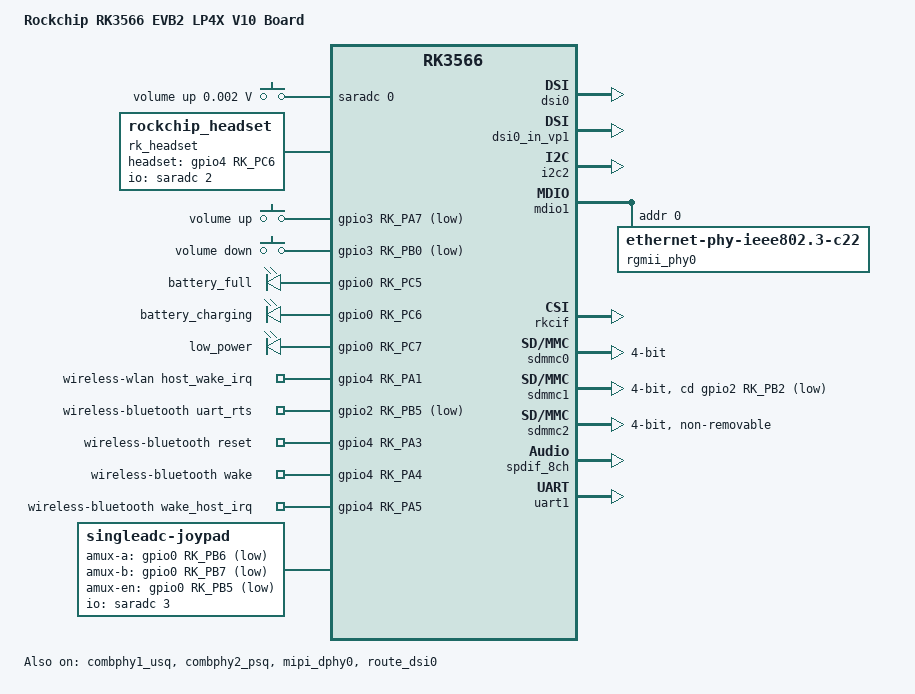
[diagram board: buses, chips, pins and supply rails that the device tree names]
// SPDX-License-Identifier: (GPL-2.0+ OR MIT)
/*
 * Copyright (c) 2020 Rockchip Electronics Co., Ltd.
 *
 */

/dts-v1/;

#include <dt-bindings/gpio/gpio.h>
#include <dt-bindings/display/media-bus-format.h>
#include <dt-bindings/pinctrl/rockchip.h>
#include "rk3566.dtsi"
#include "rk3568-evb2.dtsi"

/ {
	model = "Rockchip RK3566 EVB2 LP4X V10 Board";
	compatible = "rockchip,rk3566-evb2-lp4x-v11", "rockchip,rk3566";

	adc_keys: adc-keys {
		compatible = "adc-keys";
		io-channels = <&saradc 0>;
		io-channel-names = "buttons";
		keyup-threshold-microvolt = <1800000>;
		poll-interval = <100>;

		vol-up-key {
			label = "volume up";
			linux,code = <KEY_F>;
			press-threshold-microvolt = <1750>;
		};		
	};

	rk_headset: rk-headset {
		compatible = "rockchip_headset";
		headset_gpio = <&gpio4 RK_PC6 GPIO_ACTIVE_HIGH>;
		pinctrl-names = "default";
		pinctrl-0 = <&hp_det>;
		io-channels = <&saradc 2>;
	};

/*	vibrator {
		compatible = "rk-vibrator-gpio";
		vibrator-gpio = <&gpio0 RK_PC4 GPIO_ACTIVE_LOW>;
		status = "okay";
	};*/

	keys: gpio-keys {
		compatible = "gpio-keys";
		pinctrl-names = "default";
		pinctrl-0 = <&pwr_key>;
		autorepeat;
		vol-up-key {
			gpios = <&gpio3 RK_PA7 GPIO_ACTIVE_LOW>;
			linux,code = <115>;
			label = "volume up";
		};

		vol-down-key {
			gpios = <&gpio3 RK_PB0 GPIO_ACTIVE_LOW>;
			linux,code = <114>;
			label = "volume down";
		};

/*		power-key {
			wakeup-source;
			gpios = <&gpio0 5 GPIO_ACTIVE_LOW>;
			linux,code = <116>;
			label = "power";
		};
*/							
			
	};	
        leds: gpio-leds {
                compatible = "gpio-leds";
                pinctrl-names = "default";
                pinctrl-0 =<&leds_gpio>;

                led@1 {
                        gpios = <&gpio0 RK_PC5 GPIO_ACTIVE_HIGH>;
                        label = "battery_full";
			default-state="on";
                        retain-state-suspended;
                };

                led@2 {
                        gpios = <&gpio0 RK_PC6 GPIO_ACTIVE_HIGH>;
                        label = "battery_charging";
                        retain-state-suspended;
                };
				
                led@3 {
                        gpios = <&gpio0 RK_PC7 GPIO_ACTIVE_HIGH>;
                        label = "low_power";
			default-state="off";
                        retain-state-suspended;
                };			
	};

	wireless-wlan {
		compatible = "wlan-platdata";
		rockchip,grf = <&grf>;
		wifi_chip_type = "ap6330";
		pinctrl-names = "default";
		pinctrl-0 = <&wifi_host_wake_irq>;
		WIFI,host_wake_irq = <&gpio4 RK_PA1 GPIO_ACTIVE_HIGH>;
		//WIFI,poweren_gpio = <&gpio0 RK_PA0 GPIO_ACTIVE_HIGH>; /* GPIO0_a3 */
		keep_wifi_power_on;		
		status = "okay";
	};

	wireless-bluetooth {
		compatible = "bluetooth-platdata";
		clocks = <&rk817 1>;
		clock-names = "ext_clock";
		//wifi-bt-power-toggle;
		uart_rts_gpios = <&gpio2 RK_PB5 GPIO_ACTIVE_LOW>;
		pinctrl-names = "default", "rts_gpio";
		pinctrl-0 = <&uart1m1_rtsn>;
		pinctrl-1 = <&uart1_gpios>;
		BT,reset_gpio    = <&gpio4 RK_PA3 GPIO_ACTIVE_HIGH>;
		BT,wake_gpio     = <&gpio4 RK_PA4 GPIO_ACTIVE_HIGH>;
		BT,wake_host_irq = <&gpio4 RK_PA5 GPIO_ACTIVE_HIGH>;
		status = "okay";
	};
	
	joypad: singleadc-joypad {
		compatible = "singleadc-joypad";

		joypad-name = "retrogame_joypad";
		joypad-product = <0x1101>;
		joypad-revision = <0x0100>;

		status = "okay";

		/* gpio pincontrol setup */
		pinctrl-names = "default";
		pinctrl-0 = <&btn_pins>;

		/* Analog mux define */
		io-channel-names = "amux_adc";
		io-channels = <&saradc 3>;

		/* adc mux channel count */
		amux-count = <4>;
		/* adc mux select(a,b) gpio */
		amux-a-gpios = <&gpio0 RK_PB6 GPIO_ACTIVE_LOW>;
		amux-b-gpios = <&gpio0 RK_PB7 GPIO_ACTIVE_LOW>;
		/* adc mux enable gpio */
		amux-en-gpios = <&gpio0 RK_PB5 GPIO_ACTIVE_LOW>;

		/* adc calculate scale */
		button-adc-scale = <2>;

		/* adc deadzone range  */
		button-adc-deadzone = <64>;

		/*
		  specifies fuzz value that is used to filter noise from
		  the event stream.
		*/
		button-adc-fuzz = <32>;
		button-adc-flat = <32>;

		/*
		  Analog Stick data tuning value(precent)
		  p = positive direction, n = negative direction
		  report value = (real_adc_data * tuning_value) / 100
		*/
		abs_x-p-tuning = <400>;
		abs_x-n-tuning = <400>;

		abs_y-p-tuning = <400>;
		abs_y-n-tuning = <400>;

		abs_rx-p-tuning = <400>;
		abs_rx-n-tuning = <400>;

		abs_ry-p-tuning = <400>;
		abs_ry-n-tuning = <400>;

		/* poll device interval (ms), adc read interval */
		poll-interval = <10>;

		/* gpio button auto repeat set value : default disable */
		/*
			autorepeat;
		*/
		sw1 {
		        gpios = <&gpio3 RK_PA3 GPIO_ACTIVE_LOW>;
		        label = "GPIO DPAD-UP";
		        linux,code = <BTN_DPAD_UP>;
		};
		sw2 {
		        gpios = <&gpio3 RK_PA4 GPIO_ACTIVE_LOW>;
		        label = "GPIO DPAD-DOWN";
		        linux,code = <BTN_DPAD_DOWN>;
		};
		sw3 {
		        gpios = <&gpio3 RK_PA5 GPIO_ACTIVE_LOW>;
		        label = "GPIO DPAD-LEFT";
		        linux,code = <BTN_DPAD_LEFT>;
		};
		sw4 {
		        gpios = <&gpio3 RK_PA6 GPIO_ACTIVE_LOW>;
		        label = "GPIO DPAD-RIGHT";
		        linux,code = <BTN_DPAD_RIGHT>;
		};
		sw5 {
		        gpios = <&gpio3 RK_PC3 GPIO_ACTIVE_LOW>;
		        label = "GPIO KEY BTN-A";
		        linux,code = <BTN_SOUTH>;
		};
		sw6 {
		        gpios = <&gpio3 RK_PC2 GPIO_ACTIVE_LOW>;
		        label = "GPIO BTN-B";
		        linux,code = <BTN_EAST>;
		};
		sw7 {
		        gpios = <&gpio3 RK_PC0 GPIO_ACTIVE_LOW>;
		        label = "GPIO BTN-X";
		        linux,code = <BTN_NORTH>;
		};
		sw8 {
		        gpios = <&gpio3 RK_PC1 GPIO_ACTIVE_LOW>;
		        label = "GPIO BTN-Y";
		        linux,code = <BTN_WEST>;
		};
		sw9 {
		        gpios = <&gpio3 RK_PB6 GPIO_ACTIVE_LOW>;
		        label = "GPIO BTN_SELECT";
		        linux,code = <BTN_SELECT>;
		};
		sw10 {
		        gpios = <&gpio3 RK_PB5 GPIO_ACTIVE_LOW>;
		        label = "GPIO BTN_START";
		        linux,code = <BTN_START>;
		};
		sw11 {
		        gpios = <&gpio3 RK_PB7 GPIO_ACTIVE_LOW>;
		        label = "GPIO BTN_F";
		        linux,code = <BTN_MODE>;
		};
		sw12 {
		        gpios = <&gpio3 RK_PB1 GPIO_ACTIVE_LOW>;
		        label = "GPIO BTN_TL";
		        linux,code = <BTN_TL>;
		};
		sw13 {
		        gpios = <&gpio3 RK_PB3 GPIO_ACTIVE_LOW>;
		        label = "GPIO BTN_TR";
		        linux,code = <BTN_TR>;
		};
		sw14 {
		        gpios = <&gpio3 RK_PB2 GPIO_ACTIVE_LOW>;
		        label = "GPIO BTN_TL2";
		        linux,code = <BTN_TL2>;
		};
		sw15 {
		        gpios = <&gpio3 RK_PB4 GPIO_ACTIVE_LOW>;
		        label = "GPIO BTN_TR2";
		        linux,code = <BTN_TR2>;
		};
		sw16 {
		        gpios = <&gpio3 RK_PA1 GPIO_ACTIVE_LOW>;
		        label = "GPIO BTN_THUMBL";
		        linux,code = <BTN_THUMBL>;
		};
		sw17 {
		        gpios = <&gpio3 RK_PA2 GPIO_ACTIVE_LOW>;
		        label = "GPIO BTN_THUMBR";
		        linux,code = <BTN_THUMBR>;
		};
	
    	};

	es8316-sound {
		status = "disabled";
		compatible = "simple-audio-card";
		simple-audio-card,format = "i2s";
		simple-audio-card,name = "ES8316";
		simple-audio-card,mclk-fs = <256>;
		simple-audio-card,widgets =
			"Microphone", "Mic Jack",
			"Headphone", "Headphone Jack";
		simple-audio-card,routing =
			"Mic Jack", "MICBIAS1",
			"IN1P", "Mic Jack",
			"Headphone Jack", "HPOL",
			"Headphone Jack", "HPOR";
		simple-audio-card,cpu {
			sound-dai = <&i2s1_8ch>;
			system-clock-frequency = <11289600>;
		};
		simple-audio-card,codec {
			sound-dai = <&es8316>;
			system-clock-frequency = <11289600>;
		};
	};
};

&combphy1_usq {
	status = "okay";
};

&combphy2_psq {
	status = "okay";
};

&csi2_dphy_hw {
	status = "disabled";
};

&csi2_dphy0 {
	status = "disabled";
};

&csi2_dphy1 {
	status = "disabled";
};

&csi2_dphy2 {
	status = "disabled";
};

/*
 * mipi_dphy0 needs to be enabled
 * when dsi0 is enabled
 */
&dsi0 {
	status = "okay";
};

&dsi0_in_vp0 {
	status = "disabled";
};

&dsi0_in_vp1 {
	status = "okay";
};

&dsi0_panel {
	power-supply = <&vcc3v3_lcd0_n>;
	reset-gpios = <&gpio4 RK_PA0 GPIO_ACTIVE_LOW>;
	pinctrl-names = "default";
	pinctrl-0 = <&lcd0_rst_gpio>;
};

/*
 * mipi_dphy1 needs to be enabled
 * when dsi1 is enabled
 */
&dsi1 {
	status = "disabled";
};

&dsi1_in_vp0 {
	status = "disabled";
};

&dsi1_in_vp1 {
	status = "disabled";
};

&i2c2 {
	status = "okay";
	pinctrl-0 = <&i2c2m1_xfer>;
};

&i2c4 {
	/* i2c4 sda conflict with camera pwdn */
	status = "disabled";

	/*
	 * gc2145 needs to be disabled,
	 * when gmac1 is enabled;
	 * pinctrl conflicts;
	 */
	gc2145: gc2145@3c {
		status = "disabled";
		compatible = "galaxycore,gc2145";
		reg = <0x3c>;
		clocks = <&cru CLK_CIF_OUT>;
		clock-names = "xvclk";
		power-domains = <&power RK3568_PD_VI>;
		pinctrl-names = "default";
		/* conflict with gmac1m1_rgmii_pins & cif_clk*/
		pinctrl-0 = <&cif_clk &cif_dvp_clk &cif_dvp_bus16>;

		/*avdd-supply = <&vcc2v8_dvp>;*/
		/*dovdd-supply = <&vcc1v8_dvp>;*/
		/*dvdd-supply = <&vcc1v8_dvp>;*/

		/*reset-gpios = <&gpio3 RK_PB5 GPIO_ACTIVE_LOW>;*/
		pwdn-gpios = <&gpio4 RK_PA6 GPIO_ACTIVE_HIGH>;
		rockchip,camera-module-index = <0>;
		rockchip,camera-module-facing = "back";
		rockchip,camera-module-name = "CameraKing";
		rockchip,camera-module-lens-name = "Largan";
		port {
			gc2145_out: endpoint {
				remote-endpoint = <&dvp_in_bcam>;
			};
		};
	};
};

&mdio1 {
	rgmii_phy0: phy@0 {
		compatible = "ethernet-phy-ieee802.3-c22";
		reg = <0x0>;
	};
};

&mipi_dphy0 {
	status = "okay";
};

&mipi_dphy1 {
	status = "disabled";
};

&pinctrl {
	
	headphone {
		hp_det: hp-det {
			rockchip,pins = <4 RK_PC6 RK_FUNC_GPIO &pcfg_pull_none>;
		};
	};

	sdio-pwrseq {
		wifi_enable_h: wifi-enable-h {
			rockchip,pins = <4 RK_PA2 RK_FUNC_GPIO &pcfg_pull_none>;
		};
	};

	power-wlan-bt {
		vcc_wifi_h: vcc-wifi-h {
			rockchip,pins = <0 RK_PA0 RK_FUNC_GPIO &pcfg_pull_none>;
		};
	};
	
	wireless-wlan {
		wifi_host_wake_irq: wifi-host-wake-irq {
			rockchip,pins = <4 RK_PA1 RK_FUNC_GPIO &pcfg_pull_down>;
		};
	};

	wireless-bluetooth {
		uart1_gpios: uart1-gpios {
			rockchip,pins = <4 RK_PB6 RK_FUNC_GPIO &pcfg_pull_none>;
		};
	};

        gpio-leds {
		leds_gpio: leds-gpio {
			rockchip,pins =
				<0 RK_PC5 RK_FUNC_GPIO &pcfg_pull_none>,
				<0 RK_PC6 RK_FUNC_GPIO &pcfg_pull_none>,
				<0 RK_PC7 RK_FUNC_GPIO &pcfg_pull_none>;
		};
	};

	lcd0 {
		lcd0_rst_gpio: lcd0-rst-gpio {
			rockchip,pins = <4 RK_PA0 RK_FUNC_GPIO &pcfg_pull_none>;
		};
	};
	btns {
		btn_pins: btn-pins {
			rockchip,pins = 
					<3 RK_PA0 RK_FUNC_GPIO &pcfg_pull_up>,
					<3 RK_PA1 RK_FUNC_GPIO &pcfg_pull_up>,
					<3 RK_PA2 RK_FUNC_GPIO &pcfg_pull_up>,
					<3 RK_PA3 RK_FUNC_GPIO &pcfg_pull_up>,
					<3 RK_PA4 RK_FUNC_GPIO &pcfg_pull_up>,
					<3 RK_PA5 RK_FUNC_GPIO &pcfg_pull_up>,
					<3 RK_PA6 RK_FUNC_GPIO &pcfg_pull_up>,
					<3 RK_PA0 RK_FUNC_GPIO &pcfg_pull_up>,
					<3 RK_PB1 RK_FUNC_GPIO &pcfg_pull_up>,
					<3 RK_PB2 RK_FUNC_GPIO &pcfg_pull_up>,
					<3 RK_PB3 RK_FUNC_GPIO &pcfg_pull_up>,
					<3 RK_PB4 RK_FUNC_GPIO &pcfg_pull_up>,
					<3 RK_PB5 RK_FUNC_GPIO &pcfg_pull_up>,
					<3 RK_PB6 RK_FUNC_GPIO &pcfg_pull_up>,
					<3 RK_PB7 RK_FUNC_GPIO &pcfg_pull_up>,
					<3 RK_PC0 RK_FUNC_GPIO &pcfg_pull_up>,
					<3 RK_PC1 RK_FUNC_GPIO &pcfg_pull_up>,
					<3 RK_PC2 RK_FUNC_GPIO &pcfg_pull_up>,
					<4 RK_PA6 RK_FUNC_GPIO &pcfg_pull_up>,
					<3 RK_PC3 RK_FUNC_GPIO &pcfg_pull_up>;
		};
	};

	keys {
			pwr_key: pwr-key {
				rockchip,pins = 
					<3 RK_PB0 RK_FUNC_GPIO &pcfg_pull_up>,
					<3 RK_PA7 RK_FUNC_GPIO &pcfg_pull_up>;
			};
	};	
	
};

&rkcif {
	status = "okay";
};

&rkcif_dvp {
	status = "disabled";

	port {
		/* Parallel bus endpoint */
		dvp_in_bcam: endpoint {
			remote-endpoint = <&gc2145_out>;
			bus-width = <8>;
			vsync-active = <0>;
			hsync-active = <1>;
		};
	};
};

&route_dsi0 {
	status = "okay";
	connect = <&vp1_out_dsi0>;
};

&sdmmc0 {
	//clock-frequency = <50000000>;
	max-frequency = <150000000>;
	supports-sd;
	bus-width = <4>;
	disable-wp;
	cap-mmc-highspeed;
	cap-sd-highspeed;	
	sd-uhs-sdr12;
	sd-uhs-sdr25;
	sd-uhs-sdr50;
	sd-uhs-sdr104;
	vqmmc-supply = <&vccio_sd>;
	pinctrl-names = "default";
	pinctrl-0 = <&sdmmc0_bus4 &sdmmc0_clk &sdmmc0_cmd &sdmmc0_det>;
	status = "okay";
};

&sdmmc1 {
	max-frequency = <150000000>;
	supports-sd;
	bus-width = <4>;
	disable-wp;
	cap-mmc-highspeed;
	cap-sd-highspeed;
	keep-power-in-suspend;	
//	mmc-pwrseq = <&sdio_pwrseq>;
//	non-removable;
	card-detect-delay = <800>;
	cd-gpios = <&gpio2 RK_PB2 GPIO_ACTIVE_LOW>; /*[> CD GPIO <]*/
	vqmmc-supply = <&vcc1v8_dvp>;	
	pinctrl-names = "default";
	pinctrl-0 = <&sdmmc1_bus4 &sdmmc1_cmd &sdmmc1_clk>;
	sd-uhs-sdr12;
	sd-uhs-sdr25;
	sd-uhs-sdr50;
	sd-uhs-sdr104;
//	rockchip,default-sample-phase = <90>;
	status = "okay";
};

&sdmmc2 {
	max-frequency = <100000000>;
	supports-sdio;
	bus-width = <4>;
	disable-wp;
	cap-sd-highspeed;
	cap-sdio-irq;
	keep-power-in-suspend;
	mmc-pwrseq = <&sdio_pwrseq>;
	non-removable;
	pinctrl-names = "default";
	pinctrl-0 = <&sdmmc2m0_bus4 &sdmmc2m0_cmd &sdmmc2m0_clk>;
	sd-uhs-sdr104;
	rockchip,default-sample-phase = <90>;
	status = "okay";
};

//&sdio_pwrseq {
	//reset-gpios = <&gpio3 RK_PC7 GPIO_ACTIVE_LOW>;
//};

&spdif_8ch {
	status = "okay";
	pinctrl-names = "default";
	pinctrl-0 = <&spdifm1_tx>;
};

&uart1 {
	status = "okay";
	pinctrl-names = "default";
	pinctrl-0 = <&uart1m1_xfer &uart1m1_ctsn>;
};

&vcc3v3_lcd0_n {
	gpio = <&gpio0 RK_PC2 GPIO_ACTIVE_HIGH>;
	enable-active-high;
};
